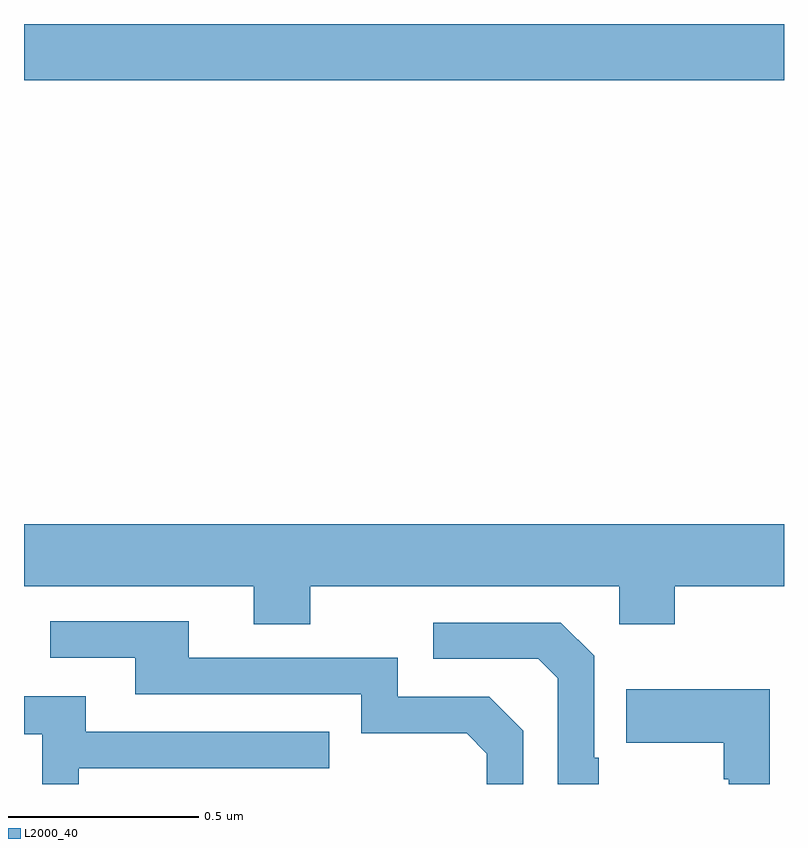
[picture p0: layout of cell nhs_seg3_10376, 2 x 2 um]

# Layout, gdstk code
import gdstk
lib = gdstk.Library(unit=1e-6, precision=1e-09)
def R(c, l, rs):  # rectangles x0, y0, x1, y1
    for r in rs: c.add(gdstk.rectangle(r[:2], r[2:], *l))
def P(c, l, *ps):  # polygons
    for p in ps: c.add(gdstk.Polygon(p, *l))
L2000_40 = (2000, 40)

nhs_seg3_10376 = lib.new_cell('nhs_seg3_10376')
R(nhs_seg3_10376, L2000_40, [(240,698.252,242,698.4)])
P(nhs_seg3_10376, L2000_40, [(240.753,696.92),(241.566,696.92),(241.566,696.821),(241.713,696.821),(241.713,696.92),(242,696.92),(242,697.084),(240,697.084),(240,696.92),(240.605,696.92),(240.605,696.821),(240.753,696.821)],
  [(241.314,696.54),(241.224,696.63),(240.984,696.63),(240.984,696.732),(240.433,696.732),(240.433,696.828),(240.069,696.828),(240.069,696.732),(240.293,696.732),(240.293,696.636),(240.888,696.636),(240.888,696.533),(241.165,696.533),(241.218,696.48),(241.218,696.4),(241.314,696.4)],
  [(241.513,696.469),(241.5,696.469),(241.5,696.738),(241.413,696.825),(241.077,696.825),(241.077,696.729),(241.353,696.729),(241.404,696.678),(241.404,696.4),(241.513,696.4)],
  [(241.963,696.649),(241.585,696.649),(241.585,696.509),(241.842,696.509),(241.842,696.413),(241.854,696.413),(241.854,696.4),(241.963,696.4)],
  [(240.144,696.441),(240.803,696.441),(240.803,696.537),(240.163,696.537),(240.163,696.631),(240,696.631),(240,696.531),(240.048,696.531),(240.048,696.4),(240.144,696.4)])

lib.write_gds('nhs_seg3_10376.gds')
